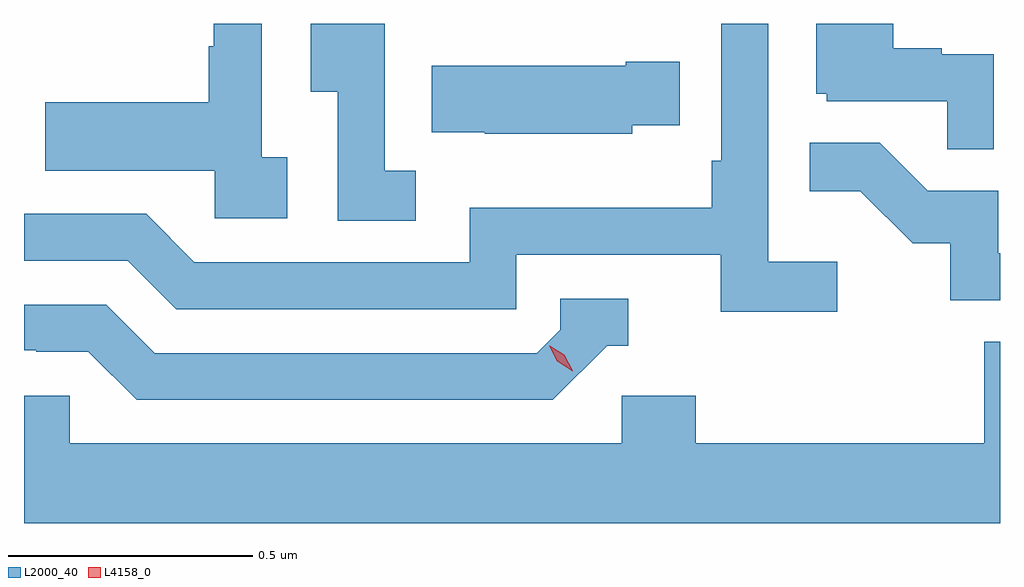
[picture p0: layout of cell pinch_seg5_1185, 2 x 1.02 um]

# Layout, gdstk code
import gdstk
lib = gdstk.Library(unit=1e-6, precision=1e-09)
def P(c, l, *ps):  # polygons
    for p in ps: c.add(gdstk.Polygon(p, *l))
L2000_40 = (2000, 40)
L4158_0 = (4158, 0)

pinch_seg5_1185 = lib.new_cell('pinch_seg5_1185')
P(pinch_seg5_1185, L2000_40, [(854.92,842.644),(854.778,842.644),(854.778,843.132),(854.682,843.132),(854.682,842.851),(854.662,842.851),(854.662,842.755),(854.166,842.755),(854.166,842.643),(853.602,842.643),(853.503,842.742),(853.253,842.742),(853.253,842.646),(853.466,842.646),(853.565,842.547),(854.262,842.547),(854.262,842.658),(854.681,842.658),(854.681,842.542),(854.92,842.542)],
  [(854.056,842.831),(853.992,842.831),(853.992,843.132),(853.841,843.132),(853.841,842.992),(853.896,842.992),(853.896,842.728),(854.056,842.728)],
  [(853.792,842.858),(853.74,842.858),(853.74,843.132),(853.642,843.132),(853.642,843.086),(853.632,843.086),(853.632,842.971),(853.297,842.971),(853.297,842.831),(853.644,842.831),(853.644,842.733),(853.792,842.733)],
  [(855.24,843.069),(855.134,843.069),(855.134,843.082),(855.034,843.082),(855.034,843.132),(854.876,843.132),(854.876,842.988),(854.898,842.988),(854.898,842.973),(855.145,842.973),(855.145,842.875),(855.24,842.875)],
  [(854.499,842.924),(854.597,842.924),(854.597,843.054),(854.486,843.054),(854.486,843.046),(854.089,843.046),(854.089,842.909),(854.197,842.909),(854.197,842.906),(854.499,842.906)],
  [(855.253,842.661),(855.249,842.661),(855.249,842.79),(855.105,842.79),(855.007,842.888),(854.863,842.888),(854.863,842.789),(854.967,842.789),(855.074,842.682),(855.151,842.682),(855.151,842.565),(855.253,842.565)],
  [(854.448,842.472),(854.491,842.472),(854.491,842.568),(854.352,842.568),(854.352,842.505),(854.304,842.457),(853.521,842.457),(853.422,842.556),(853.253,842.556),(853.253,842.463),(853.278,842.463),(853.278,842.46),(853.385,842.46),(853.484,842.361),(854.337,842.361)],
  [(855.253,842.48),(855.221,842.48),(855.221,842.272),(854.63,842.272),(854.63,842.37),(854.478,842.37),(854.478,842.272),(853.347,842.272),(853.347,842.37),(853.253,842.37),(853.253,842.108),(855.253,842.108)])
P(pinch_seg5_1185, L4158_0, [(854.377,842.42),(854.346,842.44),(854.329,842.472),(854.329,842.472),(854.33,842.472),(854.36,842.453),(854.377,842.421),(854.377,842.42)])

lib.write_gds('pinch_seg5_1185.gds')
